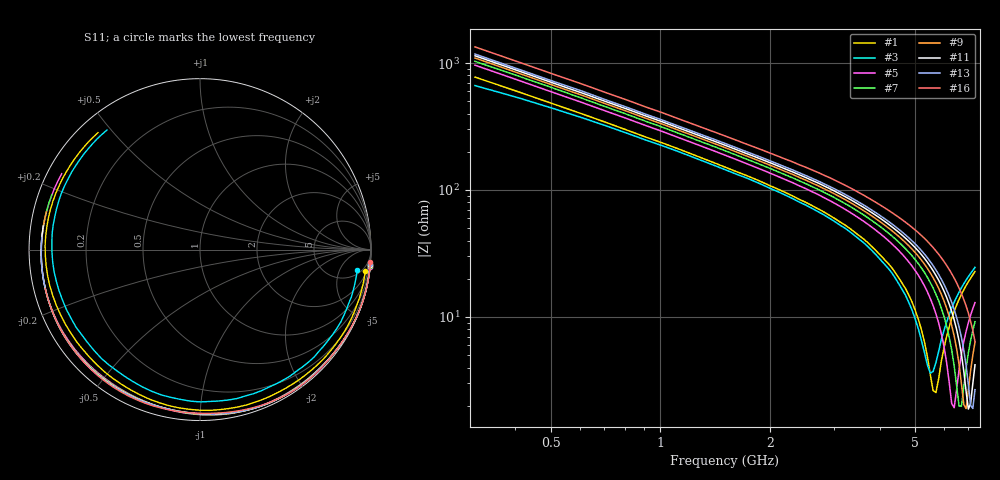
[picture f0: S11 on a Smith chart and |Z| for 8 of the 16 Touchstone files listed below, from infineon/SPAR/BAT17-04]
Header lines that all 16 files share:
! Infineon Technologies  Discrete & RF Semiconductors
! BAT17-04
! One-Port S-Parameters
# Hz  S  MA  R  50
!f  S11
!Hz  Mag  Ang
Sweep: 309.9 MHz to 7.306 GHz
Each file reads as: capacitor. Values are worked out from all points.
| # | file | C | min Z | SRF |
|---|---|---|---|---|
| 1 | BAT17-04_IAC_0.01mA.s1p | 662 fF | 2.54 ohm | 5.665 GHz |
| 2 | BAT17-04_IAC_0.02mA.s1p | 717 fF | 3.05 ohm | 5.586 GHz |
| 3 | BAT17-04_IAC_0.03mA.s1p | 794 fF | 3.61 ohm | 5.536 GHz |
| 4 | BAT17-04_IAC_0.04mA.s1p | 896 fF | 4.11 ohm | 5.497 GHz |
| 5 | BAT17-04_VCA_0.1V.s1p | 531 fF | 1.93 ohm | 6.374 GHz |
| 6 | BAT17-04_VCA_0.2V.s1p | 510 fF | 1.87 ohm | 6.528 GHz |
| 7 | BAT17-04_VCA_0.3V.s1p | 493 fF | 1.99 ohm | 6.659 GHz |
| 8 | BAT17-04_VCA_0.4V.s1p | 478 fF | 1.92 ohm | 6.772 GHz |
| 9 | BAT17-04_VCA_0.5V.s1p | 467 fF | 1.9 ohm | 6.873 GHz |
| 10 | BAT17-04_VCA_0.6V.s1p | 457 fF | 1.96 ohm | 6.961 GHz |
| 11 | BAT17-04_VCA_0.7V.s1p | 448 fF | 1.88 ohm | 7.038 GHz |
| 12 | BAT17-04_VCA_0.8V.s1p | 441 fF | 1.83 ohm | 7.106 GHz |
| 13 | BAT17-04_VCA_0.9V.s1p | 434 fF | 1.9 ohm | 7.17 GHz |
| 14 | BAT17-04_VCA_1V.s1p | 429 fF | 1.84 ohm | 7.226 GHz |
| 15 | BAT17-04_VCA_2V.s1p | 397 fF | 4.13 ohm | - |
| 16 | BAT17-04_VCA_3V.s1p | 383 fF | 6.4 ohm | - |
